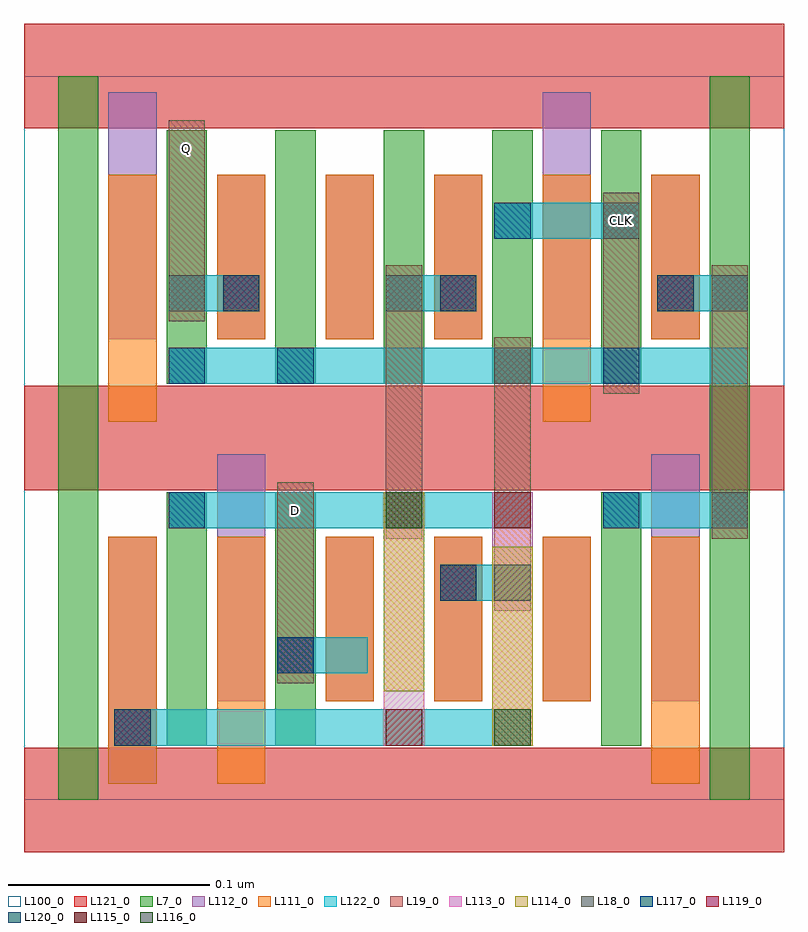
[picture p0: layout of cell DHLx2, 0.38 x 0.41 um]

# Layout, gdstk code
import gdstk
lib = gdstk.Library(unit=1e-6, precision=2.5e-10)
def R(c, l, rs):  # rectangles x0, y0, x1, y1
    for r in rs: c.add(gdstk.rectangle(r[:2], r[2:], *l))
def A(c, l, x, y, w, h, nx, ny, dx, dy):  # array of equal rectangles
    R(c, l, [(x+i*dx, y+j*dy, x+i*dx+w, y+j*dy+h) for i in range(nx) for j in range(ny)])
L7_0 = (7, 0)
L18_0 = (18, 0)
L19_0 = (19, 0)
L100_0 = (100, 0)
L111_0 = (111, 0)
L112_0 = (112, 0)
L113_0 = (113, 0)
L114_0 = (114, 0)
L115_0 = (115, 0)
L116_0 = (116, 0)
L117_0 = (117, 0)
L119_0 = (119, 0)
L120_0 = (120, 0)
L121_0 = (121, 0)
L122_0 = (122, 0)

dhlx2 = lib.new_cell('DHLx2')
A(dhlx2, L7_0, 0.071, 0.207, 0.02, 0.126, 5, 1, 0.054, 0)
R(dhlx2, L7_0, [(0.017,0,0.037,0.18), (0.341,0,0.361,0.18), (0.071,0.027,0.091,0.153), (0.125,0.027,0.145,0.153), (0.287,0.027,0.307,0.153), (0.017,0.18,0.037,0.36), (0.341,0.18,0.361,0.36)])
R(dhlx2, L18_0, [(0.126,0.063,0.144,0.081), (0.234,0.099,0.252,0.117), (0.18,0.135,0.198,0.153), (0.342,0.135,0.36,0.153), (0.234,0.207,0.252,0.225), (0.072,0.243,0.09,0.261), (0.18,0.243,0.198,0.261), (0.342,0.243,0.36,0.261), (0.288,0.279,0.306,0.297)])
R(dhlx2, L19_0, [(0.126,0.058,0.144,0.158), (0.234,0.094,0.252,0.23), (0.18,0.13,0.198,0.266), (0.342,0.13,0.36,0.266), (0.288,0.202,0.306,0.302), (0.072,0.238,0.09,0.338)])
R(dhlx2, L100_0, [(0,0,0.378,0.36)])
A(dhlx2, L111_0, 0.15, 0.049, 0.024, 0.082, 3, 1, 0.054, 0)
A(dhlx2, L111_0, 0.096, 0.229, 0.024, 0.082, 3, 1, 0.054, 0)
R(dhlx2, L111_0, [(0.042,0.008,0.066,0.131), (0.096,0.008,0.12,0.131), (0.312,0.008,0.336,0.131), (0.042,0.188,0.066,0.311), (0.258,0.188,0.282,0.311), (0.312,0.229,0.336,0.311)])
A(dhlx2, L112_0, 0.15, 0.049, 0.024, 0.082, 3, 1, 0.054, 0)
A(dhlx2, L112_0, 0.096, 0.229, 0.024, 0.082, 3, 1, 0.054, 0)
R(dhlx2, L112_0, [(0.042,0.008,0.066,0.131), (0.096,0.049,0.12,0.172), (0.312,0.049,0.336,0.172), (0.042,0.229,0.066,0.352), (0.258,0.229,0.282,0.352), (0.312,0.229,0.336,0.311)])
R(dhlx2, L113_0, [(0.179,0.027,0.199,0.153), (0.233,0.027,0.253,0.153)])
R(dhlx2, L114_0, [(0.233,0.027,0.253,0.126), (0.179,0.054,0.199,0.153)])
R(dhlx2, L115_0, [(0.18,0.027,0.198,0.045), (0.234,0.135,0.252,0.153)])
R(dhlx2, L116_0, [(0.234,0.027,0.252,0.045), (0.18,0.135,0.198,0.153)])
R(dhlx2, L117_0, [(0.126,0.063,0.144,0.081), (0.072,0.135,0.09,0.153), (0.288,0.135,0.306,0.153), (0.072,0.207,0.09,0.225), (0.126,0.207,0.144,0.225), (0.288,0.207,0.306,0.225), (0.234,0.279,0.252,0.297)])
A(dhlx2, L119_0, 0.099, 0.243, 0.018, 0.018, 3, 1, 0.108, 0)
R(dhlx2, L119_0, [(0.045,0.027,0.063,0.045), (0.207,0.099,0.225,0.117)])
A(dhlx2, L120_0, 0.099, 0.243, 0.018, 0.018, 3, 1, 0.108, 0)
R(dhlx2, L120_0, [(0.045,0.027,0.063,0.045), (0.207,0.099,0.225,0.117)])
A(dhlx2, L121_0, 0, -0.026, 0.378, 0.052, 1, 3, 0, 0.18)
R(dhlx2, L122_0, [(0.045,0.027,0.252,0.045), (0.126,0.063,0.171,0.081), (0.207,0.099,0.252,0.117), (0.072,0.135,0.252,0.153), (0.288,0.135,0.36,0.153), (0.072,0.207,0.36,0.225), (0.072,0.243,0.117,0.261), (0.18,0.243,0.225,0.261), (0.315,0.243,0.36,0.261), (0.234,0.279,0.306,0.297)])
dhlx2.add(gdstk.Label('Q', (0.081,0.324), layer=19, texttype=251))
dhlx2.add(gdstk.Label('D', (0.135,0.144), layer=19, texttype=251))
dhlx2.add(gdstk.Label('CLK', (0.297,0.288), layer=19, texttype=251))

lib.write_gds('DHLx2.gds')
